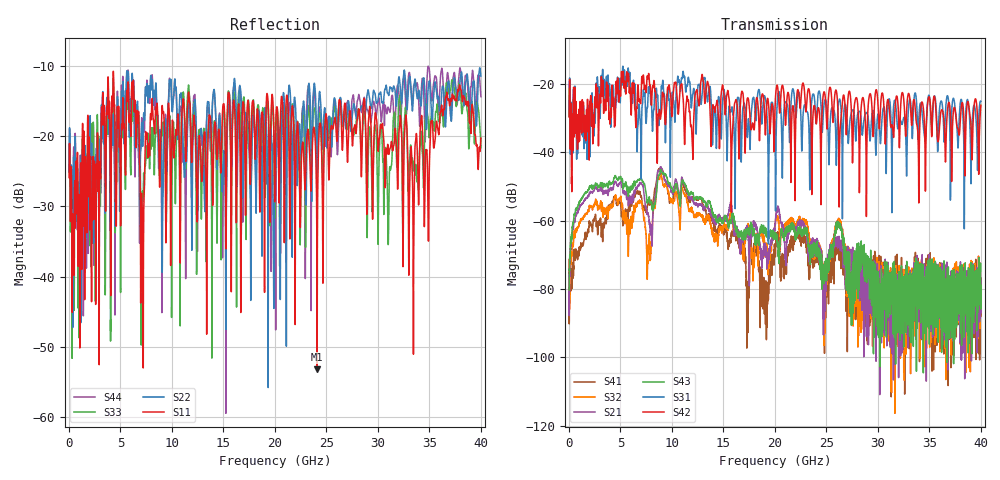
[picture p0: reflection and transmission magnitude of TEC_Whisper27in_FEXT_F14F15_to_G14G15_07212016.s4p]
! TE Connectivity
! F14F15-G14G15_FEXT
!! PART DESCRIPTION: Whisper 27in Megtron 6 HVLP-HVLP-HVLP Channel Model, bulkhead 2.92mm test points
!! MODEL DESCRIPTION: System 4-port S-parameter
!! MODEL STATUS: Measured
!! MODEL GEOMETRY: Channel Model
!! MODEL FREQUENCY RANGE: DC to 40 GHz in 10 MHz frequency steps
!! MODEL EDGE RATE LIMITATION: 12.5 ps (Using conservative 0.5/Fmax rule of thumb)
!! TIME-DOMAIN TRANSFORM CAUTIONS:
!! 1.) Do not simulate transient edge rates faster than the number listed above.  Edge
!!  rates faster than this number contain significant spectral content at frequencies
!!  above the model's highest frequency.
!! 2.) Even when simulating edge rates that are slower than the number listed above, be
!!  aware that the best time resolution possible with a direct iFFT is (1 / 2Fmax).
!!  As a result, time resolution is typically not adequate for most time-domain
!!  simulations unless tricks such as frequency-domain zero-padding and windowing are
!!  used to minimize leakage and aliasing.
!! 3.) Because the model has a uniform frequency step, a direct iFFT will result in an
!!  impulse that that has a time length given by either (1 / Fstep) or (1 / 2Fstep),
!!  depending on the transform being used.  Care has been taken in selecting the
!!  frequency step to ensure a settled impulse response for the model.  Therefore,
!!  convolution with the model's impulse response should present no issues.  However,
!!  if directly concatenating s-parameter models in the frequency domain a user must
!!  either interpolate necessary interim frequencies or complete impulse response
!!  zero-padding.  Impulse response zero-padding is more difficult, but more accurate.
!! PORT DEFINITIONS:
!! Port  1  ----->  Side A  F14  G14  Side B  <-----  Port  2
!! Port  3  ----->  Side A  F15  G15  Side B  <-----  Port  4
! Point-to-Point link (differential)  !
! Connectors:  !
!  1: STRADA Whisper 3.9mm  !
! Materials:  !
!  Backplane: Megtron-6 HVLP  !
!  Daughtercard: Megtron-6 HVLP  !
! Stack-up:  !
!  Backplane: 20 layers, 190mil thick  !
!  Daughtercard: 14 layers, 110mil thick  !
! Trace Length:  !
!  Backplane: 17in  !
!  Daughtercards: 5in  !
! Trace Width:  !
!  Backplane: 5.75-6.25-5.75 mils  !
!  Daughtercards: 6-9-6 mils  !
! Geometry:  !
!  Backplane: Stripline  !
!  Daughtercards: Stripline  !
! Layer Connections:  !
!  Backplane: Layer 16, counterbored(1-6mil stub)  !
!  Daughtercard: Layer 9, counterbored(1-6mil stub) !
! Freq. Range: 0 GHz - 40 GHz  !
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# hz S ma R 50
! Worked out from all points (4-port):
!   4000 points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, 10 MHz to 40 GHz, reference 50 ohm
!   strongest paths, dB at 10 MHz, 10.01 GHz, 20.01 GHz, 30.01 GHz, 40 GHz:
!     S42: -29.7, -28.8, -26.8, -26.1, -26.3
!     S31: -29.4, -23.1, -37.1, -28.9, -25.1
!     S43: -80.3, -50.6, -63.5, -81.8, -82.1
!     S21: -76.3, -51.6, -61.1, -76.4, -80.3
!     S32: -75.3, -54.0, -61.6, -76.4, -79.0
!     S41: -71.4, -53.8, -68.0, -93.0, -86.6
!   lowest |S11| = -53.2 dB at 24.1 GHz (marker M1), VSWR 1.00, Z = 49.8 - j0.0298 ohm
!   |S11| at or under -10 dB: start of sweep to end of sweep
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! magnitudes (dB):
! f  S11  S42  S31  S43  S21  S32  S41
! 10 MHz  -25.9  -29.7  -29.4  -80.3  -76.3  -75.3  -71.4
! 2.02 GHz  -33.4  -25.2  -31.0  -50.0  -51.9  -56.2  -61.1
! 7.76 GHz  -21.1  -17.4  -21.9  -53.5  -59.3  -66.6  -54.6
! 8.86 GHz  -23.2  -30.2  -29.0  -45.5  -44.5  -46.5  -44.5
! 17.33 GHz  -15.4  -24.2  -35.4  -62.9  -63.4  -62.3  -89.6
! 24.1 GHz  -53.2  -29.2  -26.5  -69.9  -66.9  -66.9  -71.6
! 40 GHz  -20.3  -26.3  -25.1  -82.1  -80.3  -79.0  -86.6
